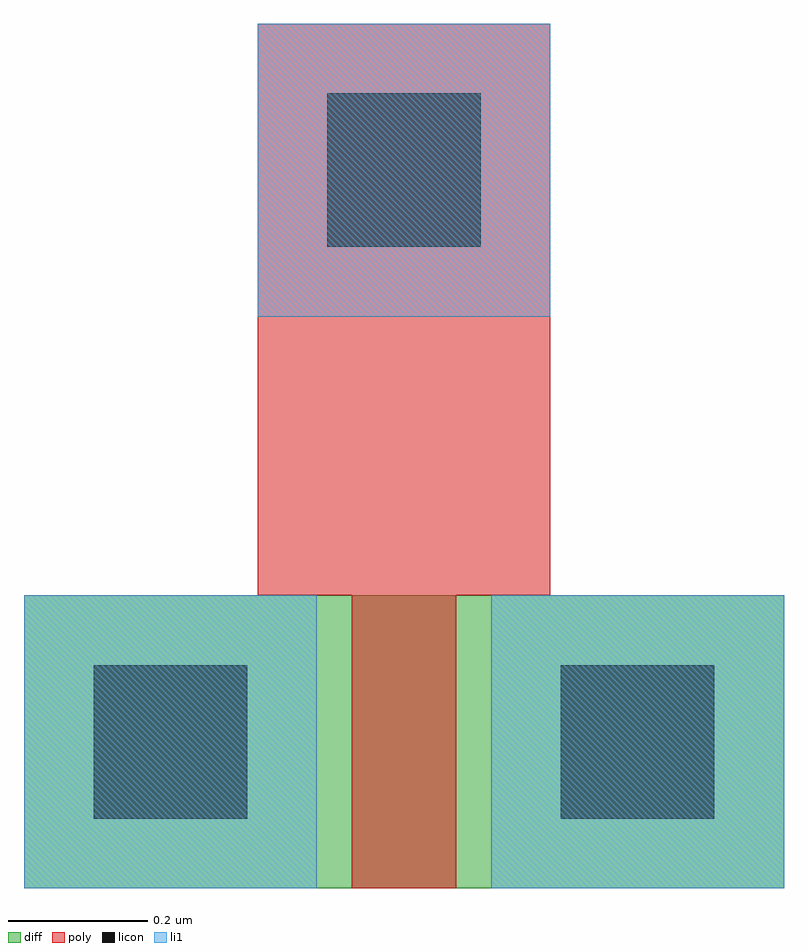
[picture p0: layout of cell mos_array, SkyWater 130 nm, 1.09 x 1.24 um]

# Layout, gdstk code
import gdstk
lib = gdstk.Library(unit=1e-6, precision=1e-09)
def R(c, l, rs):  # rectangles x0, y0, x1, y1
    for r in rs: c.add(gdstk.rectangle(r[:2], r[2:], *l))
diff = (65, 20)
poly = (66, 20)
licon = (66, 44)
li1 = (67, 20)

mos_array = lib.new_cell('mos_array')
R(mos_array, diff, [(0,0,1.09,0.42)])
R(mos_array, poly, [(0.47,0,0.62,0.42), (0.335,0.42,0.755,1.24)])
R(mos_array, licon, [(0.1,0.1,0.32,0.32), (0.77,0.1,0.99,0.32), (0.435,0.92,0.655,1.14)])
R(mos_array, li1, [(0,0,0.42,0.42), (0.67,0,1.09,0.42), (0.335,0.82,0.755,1.24)])

lib.write_gds('mos_array.gds')
